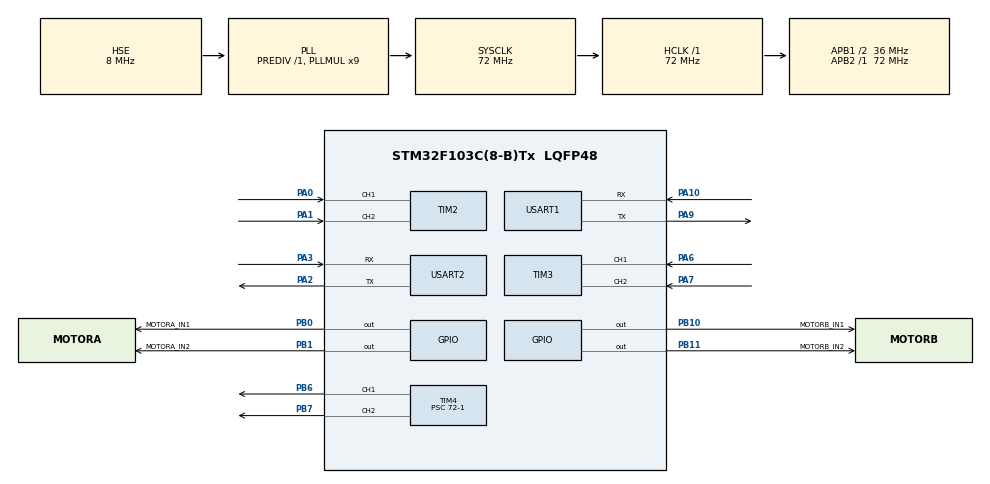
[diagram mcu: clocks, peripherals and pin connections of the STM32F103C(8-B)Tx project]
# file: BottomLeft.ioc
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Mcu.Family=STM32F1
Mcu.Name=STM32F103C(8-B)Tx
Mcu.Package=LQFP48
NVIC.PriorityGroup=NVIC_PRIORITYGROUP_4
NVIC.TIM1_BRK_IRQn=true\:0\:0\:false\:false\:true\:true\:true\:true
NVIC.TIM1_UP_IRQn=true\:0\:0\:false\:false\:true\:true\:true\:true
NVIC.USART1_IRQn=true\:0\:0\:false\:false\:true\:true\:true\:true
NVIC.USART2_IRQn=true\:0\:0\:false\:false\:true\:true\:true\:true
PA0-WKUP.Signal=S_TIM2_CH1_ETR
PA1.Signal=S_TIM2_CH2
PA10.Mode=Asynchronous
PA10.Signal=USART1_RX
PA13.Mode=Serial_Wire
PA13.Signal=SYS_JTMS-SWDIO
PA14.Mode=Serial_Wire
PA14.Signal=SYS_JTCK-SWCLK
PA2.Mode=Asynchronous
PA2.Signal=USART2_TX
PA3.Mode=Asynchronous
PA3.Signal=USART2_RX
PA6.Signal=S_TIM3_CH1
PA7.Signal=S_TIM3_CH2
PA9.Mode=Asynchronous
PA9.Signal=USART1_TX
PB0.GPIO_Label=MOTORA_IN1
PB0.Signal=GPIO_Output
PB1.GPIO_Label=MOTORA_IN2
PB1.Signal=GPIO_Output
PB10.GPIO_Label=MOTORB_IN1
PB10.Signal=GPIO_Output
PB11.GPIO_Label=MOTORB_IN2
PB11.Signal=GPIO_Output
PB6.Signal=S_TIM4_CH1
PB7.Signal=S_TIM4_CH2
PD0-OSC_IN.Mode=HSE-External-Oscillator
PD0-OSC_IN.Signal=RCC_OSC_IN
PD1-OSC_OUT.Mode=HSE-External-Oscillator
PD1-OSC_OUT.Signal=RCC_OSC_OUT
ProjectManager.HeapSize=0x200
ProjectManager.StackSize=0x400
ProjectManager.TargetToolchain=STM32CubeIDE
RCC.AHBFreq_Value=72000000
RCC.APB1CLKDivider=RCC_HCLK_DIV2
RCC.APB1Freq_Value=36000000
RCC.APB1TimFreq_Value=72000000
RCC.APB2Freq_Value=72000000
RCC.APB2TimFreq_Value=72000000
RCC.HCLKFreq_Value=72000000
RCC.PLLMUL=RCC_PLL_MUL9
RCC.PLLSourceVirtual=RCC_PLLSOURCE_HSE
RCC.SYSCLKFreq_VALUE=72000000
RCC.SYSCLKSource=RCC_SYSCLKSOURCE_PLLCLK
RCC.USBFreq_Value=72000000
SH.S_TIM2_CH1_ETR.0=TIM2_CH1,Encoder_Interface
SH.S_TIM2_CH2.0=TIM2_CH2,Encoder_Interface
SH.S_TIM3_CH1.0=TIM3_CH1,Encoder_Interface
SH.S_TIM3_CH2.0=TIM3_CH2,Encoder_Interface
SH.S_TIM4_CH1.0=TIM4_CH1,PWM Generation1 CH1
SH.S_TIM4_CH2.0=TIM4_CH2,PWM Generation2 CH2
TIM1.Period=10000-1
TIM1.Prescaler=72-1
TIM2.EncoderMode=TIM_ENCODERMODE_TI12
TIM3.EncoderMode=TIM_ENCODERMODE_TI12
TIM4.Channel-PWM\ Generation1\ CH1=TIM_CHANNEL_1
TIM4.Channel-PWM\ Generation2\ CH2=TIM_CHANNEL_2
TIM4.Period=1000-1
TIM4.Prescaler=72-1
USART1.VirtualMode=VM_ASYNC
USART2.VirtualMode=VM_ASYNC
VP_TIM1_VS_ClockSourceINT.Mode=Internal
VP_TIM4_VS_ClockSourceINT.Mode=Internal
board=custom

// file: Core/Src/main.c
/* USER CODE BEGIN Header */
/**
  ******************************************************************************
  * @file           : main.c
  * @brief          : Main program body
  ******************************************************************************
  * @attention
  *
  * Copyright (c) 2024 STMicroelectronics.
  * All rights reserved.
  *
  * This software is licensed under terms that can be found in the LICENSE file
  * in the root directory of this software component.
  * If no LICENSE file comes with this software, it is provided AS-IS.
  *
  ******************************************************************************
  */
/* USER CODE END Header */
#include "main.h"
#include "tim.h"
#include "usart.h"
#include "gpio.h"

/* USER CODE BEGIN Includes */

#include <stdio.h>

#include "motor.h"
#include "omni4.h"
#include "pid.h"
/* USER CODE END Includes */

/* USER CODE BEGIN PD */
#define CMD_LENGTH 12
/* USER CODE END PD */

/* USER CODE BEGIN PV */
Wheel_t wheels[2] = {
  {
    WHEEL1_ID,
    {
      {&htim4, TIM_CHANNEL_1}, ///< PWM信号 {定时器, 通道}
      &htim2, ///< 编码器使用的定时器
      {MOTORA_IN1_GPIO_Port, MOTORA_IN1_Pin}, ///< 电机输入IN1 {GPIOx, Pin}
      {MOTORA_IN2_GPIO_Port, MOTORA_IN2_Pin}, ///< 电机输入IN2 {GPIOx, Pin}
      0, 0, 0, 0 ///< 方向，速度（0~1)，编码器测得的速度，编码器测得的圈数
    },
    {}, {}, 0
  },
  {
    WHEEL2_ID,
    {
      {&htim4, TIM_CHANNEL_2},
      &htim3,
      {MOTORB_IN1_GPIO_Port, MOTORB_IN1_Pin},
      {MOTORB_IN2_GPIO_Port, MOTORB_IN2_Pin},
      0, 0, 0, 0
    },
    {}, {}, 0
  }
};

uint8_t rb[CMD_LENGTH];
/* USER CODE END PV */

void SystemClock_Config(void);

/* USER CODE BEGIN 0 */
#if DEBUG
/* printf retarget */
int __io_putchar(int ch)
{
  // HAL_UART_Transmit(&huart1, (uint8_t*)&ch, 1, 0xFFFF);
  HAL_UART_Transmit(&huart2, (uint8_t*)&ch, 1, 0xFFFF);
  return ch;
}
#endif

void HAL_TIM_PeriodElapsedCallback(TIM_HandleTypeDef* htim)
{
  if (htim == &htim1)
  {
    /* 编码器采样 */
    Encoder_Progress(&wheels[0].motor);
    Encoder_Progress(&wheels[1].motor);
    // printf("%.2f, %.2f\n", wheels[0].motor.real_round, wheels[1].motor.real_round);
    /* PID计算 速度环 & 位置环 */
    float pid_output;
    if (wheels[0].enable)
    {
      if (wheels[0].state == SPEED_LOOP)
        pid_output = PID_Calculate(&wheels[0].speed_loop, wheels[0].motor.real_speed);
      else // wheels[0].state == POSITION_LOOP
        pid_output = PID_Calculate(&wheels[0].position_loop, wheels[0].motor.real_round);
      Motor_SetSpeed(&wheels[0].motor, pid_output);
    }

    if (wheels[1].enable)
    {
      if (wheels[1].state == SPEED_LOOP)
        pid_output = PID_Calculate(&wheels[1].speed_loop, wheels[1].motor.real_speed);
      else // wheels[1].state == POSITION_LOOP
        pid_output = PID_Calculate(&wheels[1].position_loop, wheels[1].motor.real_round);
      Motor_SetSpeed(&wheels[1].motor, pid_output);
    }
  }
}

void HAL_UART_RxCpltCallback(UART_HandleTypeDef* huart)
{
#if DEBUG
  printf("Received char\n");
#endif
  /* 串口2用于接受主控芯片的数据 */
  if (huart == &huart2)
  {
    if (rb[0] == 0x0F && rb[CMD_LENGTH - 2] == 0xF0)
    {
      // 检查校验和
      uint8_t sum = 0;
      for (int i = 0; i < CMD_LENGTH - 1; i++) sum += rb[i];
      if (sum == rb[CMD_LENGTH - 1])
      {
        if (rb[1] == 0x01)
        {
          NVIC_SystemReset();
        } else if (rb[1] == 0x02)
        {
          switchWheelState(wheels + 0, SPEED_LOOP);
          switchWheelState(wheels + 1, SPEED_LOOP);
          __PID_SET_TARGET(&wheels[0].speed_loop, 0);
          __PID_SET_TARGET(&wheels[1].speed_loop, 0);
          Motor_Start(&wheels[0].motor);
          Motor_Start(&wheels[1].motor);
          wheels[0].enable = 1;
          wheels[1].enable = 1;
#if DEBUG
          printf("Start\n");
#endif
        } else if (rb[1] == 0x03)
        {
          Motor_Stop(&wheels[0].motor);
          Motor_Stop(&wheels[1].motor);
          wheels[0].enable = 0;
          wheels[1].enable = 0;
#if DEBUG
          printf("Stop\n");
#endif
        } else if (rb[1] == 0x04)
        {
          /* 设置旋转速度 */
          const Velocity_t velocity_rotation = {
            0, 0, *(float*)&rb[2]
          };
          setVelocity(velocity_rotation, wheels + 0);
          setVelocity(velocity_rotation, wheels + 1);
#if DEBUG
          printf("Rotate: omega=%.5f\n", velocity_rotation.omega);
#endif
        } else if (rb[1] == 0x05)
        {
          /* 设置速度 */
          const Velocity_t velocity_translation = {
            *(float*)&rb[2],
            *(float*)&rb[6],
            0
          };
          setVelocity(velocity_translation, wheels + 0);
          setVelocity(velocity_translation, wheels + 1);
#if DEBUG
          printf("Translation: vx=%.5f, vy=%.5f\n", velocity_translation.vx, velocity_translation.vy);
#endif
        } else if (rb[1] == 0x06)
        {
          const float theta = *(float*)&rb[2];
          setRotation(theta, wheels + 0);
          setRotation(theta, wheels + 1);
#if DEBUG
          printf("Rotation: theta=%.5f\n", theta);
#endif
        } else if (rb[1] == 0x07)
        {
          const Displacement_t displacement = {
            *(float*)&rb[2],
            *(float*)&rb[6]
          };
          setDisplacement(displacement, wheels + 0);
          setDisplacement(displacement, wheels + 1);
#if DEBUG
          printf("Displacement: x=%.5f, y=%.5f\n", displacement.x, displacement.y);
#endif
        }
      }
#if DEBUG
      else printf("SUM ERROR\n");
#endif
    }
#if DEBUG
    else printf("BEGIN OR END ERROR\n");
#endif
    UART_Start_Receive_IT(huart, rb, CMD_LENGTH);
  }
}

/* USER CODE END 0 */

int main(void)
{

  /* MCU Configuration--------------------------------------------------------*/

  /* Reset of all peripherals, Initializes the Flash interface and the Systick. */
  HAL_Init();

  /* Configure the system clock */
  SystemClock_Config();

  /* Initialize all configured peripherals */
  MX_GPIO_Init();
  MX_TIM4_Init();
  MX_USART1_UART_Init();
  MX_USART2_UART_Init();
  MX_TIM1_Init();
  MX_TIM2_Init();
  MX_TIM3_Init();
  /* USER CODE BEGIN 2 */
#if DEBUG
  printf("Hello World!\n");
#endif
  PID_Init(&wheels[0].speed_loop,
           2.81364 / MAX_SPEED, 0.83787 / MAX_SPEED, 0.68851 / MAX_SPEED, 0.45070, 0.39677,
           3.04182 / MAX_SPEED, 0.71963 / MAX_SPEED, 0.09108 / MAX_SPEED, 0.00000, 0.74526, 0,
           1, 20, 0);
  PID_Init(&wheels[0].position_loop,
           1.72742, 0.14087, 0.35868, 0.57931, 0.51708,
           2.47420, 0.02883, 0.22799, 0.60006, 0.60421, 0.02,
           1, 2, 0);

  PID_Init(&wheels[1].speed_loop,
           2.81364 / MAX_SPEED, 0.83787 / MAX_SPEED, 0.68851 / MAX_SPEED, 0.45070, 0.39677,
           3.04182 / MAX_SPEED, 0.71963 / MAX_SPEED, 0.09108 / MAX_SPEED, 0.00000, 0.74526, 0,
           1, 20, 0);
  PID_Init(&wheels[1].position_loop,
           1.72742, 0.14087, 0.35868, 0.57931, 0.51708,
           2.47420, 0.02883, 0.22799, 0.60006, 0.60421, 0.02,
           1, 2, 0);

  Encoder_Start(&wheels[0].motor);
  Encoder_Start(&wheels[1].motor);

  HAL_TIM_Base_Start_IT(&htim1);
  HAL_UART_Receive_IT(&huart2, rb, CMD_LENGTH);
  /* USER CODE END 2 */

  /* Infinite loop */
  while (1)
  {

  }
}

void SystemClock_Config(void)
{
  RCC_OscInitTypeDef RCC_OscInitStruct = {0};
  RCC_ClkInitTypeDef RCC_ClkInitStruct = {0};

  /** Initializes the RCC Oscillators according to the specified parameters
  * in the RCC_OscInitTypeDef structure.
  */
  RCC_OscInitStruct.OscillatorType = RCC_OSCILLATORTYPE_HSE;
  RCC_OscInitStruct.HSEState = RCC_HSE_ON;
  RCC_OscInitStruct.HSEPredivValue = RCC_HSE_PREDIV_DIV1;
  RCC_OscInitStruct.HSIState = RCC_HSI_ON;
  RCC_OscInitStruct.PLL.PLLState = RCC_PLL_ON;
  RCC_OscInitStruct.PLL.PLLSource = RCC_PLLSOURCE_HSE;
  RCC_OscInitStruct.PLL.PLLMUL = RCC_PLL_MUL9;
  if (HAL_RCC_OscConfig(&RCC_OscInitStruct) != HAL_OK)
  {
    Error_Handler();
  }

  /** Initializes the CPU, AHB and APB buses clocks
  */
  RCC_ClkInitStruct.ClockType = RCC_CLOCKTYPE_HCLK | RCC_CLOCKTYPE_SYSCLK
    | RCC_CLOCKTYPE_PCLK1 | RCC_CLOCKTYPE_PCLK2;
  RCC_ClkInitStruct.SYSCLKSource = RCC_SYSCLKSOURCE_PLLCLK;
  RCC_ClkInitStruct.AHBCLKDivider = RCC_SYSCLK_DIV1;
  RCC_ClkInitStruct.APB1CLKDivider = RCC_HCLK_DIV2;
  RCC_ClkInitStruct.APB2CLKDivider = RCC_HCLK_DIV1;

  if (HAL_RCC_ClockConfig(&RCC_ClkInitStruct, FLASH_LATENCY_2) != HAL_OK)
  {
    Error_Handler();
  }
}

void Error_Handler(void)
{
  __disable_irq();
  while (1) {}
}
